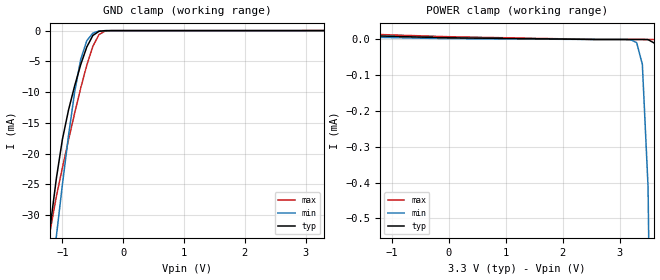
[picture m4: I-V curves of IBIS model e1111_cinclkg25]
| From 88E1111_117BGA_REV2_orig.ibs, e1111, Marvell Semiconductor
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|   Model e1111_cinclkg25
[Model]   e1111_cinclkg25
Model_type   Input
Polarity   Non-Inverting
Vinl =   1.1900V
Vinh =   1.3500V
|Vmeas =   1.3000V
|Cref =  15.0000pF
|Vref =  0.000V
C_comp   0.9900pF   0.8400pF   1.1400pF
[Temperature Range]   25.0000   0.1250k   0.000
[Pullup Reference]   2.5000V   2.3000V   2.7000V
[Pulldown Reference]   0.000V   0.000V   0.000V
[POWER Clamp Reference]   3.3000V   3.0000V   3.6000V
[GND Clamp Reference]   0.000V   0.000V   0.000V
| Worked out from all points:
|   GND clamp passes 1 mA (typ) near -0.51 V on its own axis
[GND_clamp]
| voltage   I(typ)   I(min)   I(max)
-3.3V     -230.1mA   -242.1mA   -226.9mA
-1.3V     -40.24mA   -51.22mA   -39.4mA
-1.2V     -31.77mA   -42.22mA   -32.44mA
-1.1V     -24.02mA   -33.44mA   -26.96mA
-900mV    -12.91mA   -17.05mA   -17.77mA
-800mV    -9.014mA   -10.05mA   -13.46mA
-700mV    -5.553mA   -4.707mA   -9.366mA
-600mV    -2.678mA   -1.659mA   -5.64mA
-500mV    -799.5uA   -411.2uA   -2.568mA
-400mV    -116.7uA   -69.33uA   -665.7uA
-200mV    -472nA     -926.6nA   -4.38uA
3.3V      4.685uA    3.126uA    6.162uA
[POWER_clamp]
| voltage   I(typ)   I(min)   I(max)
-3.3V     20.45uA    14.95uA    25.8uA
0V        4.684uA    2.346uA    7.699uA
3.2V      -13.76pA   -926.6nA   5.041nA
3.3V      -696.9pA   -8.908uA   4.291nA
3.4V      -18.73nA   -69.33uA   3.569nA
3.5V      -472nA     -411.2uA   2.81nA
3.6V      -9.258uA   -1.659mA   -1.554nA
